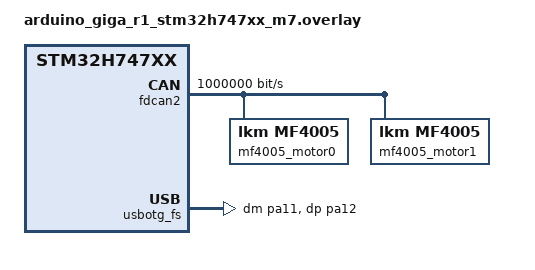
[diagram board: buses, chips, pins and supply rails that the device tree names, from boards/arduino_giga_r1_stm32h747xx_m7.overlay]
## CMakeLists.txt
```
# SPDX-License-Identifier: Apache-2.0

cmake_minimum_required(VERSION 3.20.0)

find_package(Zephyr REQUIRED HINTS $ENV{ZEPHYR_BASE})
project(mf4005_shell)

target_sources(app PRIVATE src/main.c)
```

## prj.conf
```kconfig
# Copyright (c) 2024 Felipe Neves
# SPDX-License-Identifier: Apache-2.0

CONFIG_CONSOLE=y
CONFIG_UART_CONSOLE=y
CONFIG_SERIAL=y
CONFIG_UART_LINE_CTRL=y

CONFIG_SHELL=y
CONFIG_PRINTK=y
CONFIG_LOG=y

CONFIG_CAN=y
CONFIG_LKMOTOR_MF4005_DRIVER=y
CONFIG_MF4005_DRIVER_SHELL=y
```

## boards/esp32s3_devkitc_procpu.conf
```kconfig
# Copyright (c) 2024 Vinicius Miguel
# SPDX-License-Identifier: Apache-2.0

CONFIG_USB_DEVICE_STACK=y
CONFIG_USB_DEVICE_INITIALIZE_AT_BOOT=y
CONFIG_USB_WORKQUEUE_STACK_SIZE=16384
CONFIG_MAIN_STACK_SIZE=8912
```

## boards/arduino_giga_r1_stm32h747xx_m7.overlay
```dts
/*
 * Copyright (c) 2024 Felipe Neves
 *
 * SPDX-License-Identifier: Apache-2.0
 */

/ {
	chosen {
		zephyr,console = &cdc_acm_uart0;
		zephyr,shell-uart = &cdc_acm_uart0;
		zephyr,cdc-acm-uart0 = &cdc_acm_uart0;
	};
};

&fdcan2 {
	bus-speed = <1000000>;
	status = "okay";

	#address-cells = <1>;
	#size-cells = <0>;	
	mf4005_motor0: mf4005_motor@141 {
		compatible = "lkm,mf4005";
		reg = <0x141>;
		max-current-ma = <240>;
		encoder-resolution-bits = <16>;
		max-speed-dps = <12000>;
		status = "okay";
	};

	mf4005_motor1: mf4005_motor@142 {
		compatible = "lkm,mf4005";
		reg = <0x142>;
		max-current-ma = <240>;
		encoder-resolution-bits = <16>;
		max-speed-dps = <12000>;
		status = "okay";
	};
};

zephyr_udc0: &usbotg_fs {
	pinctrl-0 = <&usb_otg_fs_dm_pa11 &usb_otg_fs_dp_pa12>;
	pinctrl-names = "default";
	status = "okay";

	cdc_acm_uart0: cdc_acm_uart0 {
		compatible = "zephyr,cdc-acm-uart";
	};
};

&cdc_acm_uart0 {
	status = "okay";
};
```

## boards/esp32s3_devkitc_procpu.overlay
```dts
/*
 * Copyright (c) 2024 Vinicius Miguel
 *
 * SPDX-License-Identifier: Apache-2.0
 */


&twai {
	bus-speed = <1000000>;
	status = "okay";

	#address-cells = <1>;
	#size-cells = <0>;	
	mf4005_motor0: mf4005_motor@141 {
		compatible = "lkm,mf4005";
		reg = <0x141>;
		max-current-ma = <240>;
		encoder-resolution-bits = <16>;
		max-speed-dps = <12000>;
		status = "okay";
	};

	mf4005_motor1: mf4005_motor@142 {
		compatible = "lkm,mf4005";
		reg = <0x142>;
		max-current-ma = <240>;
		encoder-resolution-bits = <16>;
		max-speed-dps = <12000>;
		status = "okay";
	};
};
```

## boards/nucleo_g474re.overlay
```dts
/*
 * Copyright (c) 2024 Felipe Neves
 *
 * SPDX-License-Identifier: Apache-2.0
 */
&fdcan1 {
	pinctrl-0 = <&fdcan1_rx_pa11 &fdcan1_tx_pa12>;
	pinctrl-names = "default";
	status = "okay";
	bus-speed = <1000000>;
	status = "okay";
};
```

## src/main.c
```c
/*
 * Copyright (c) 2024 Felipe Neves
 *
 * SPDX-License-Identifier: Apache-2.0
 */

#include <stdio.h>
#include <zephyr/kernel.h>

int main(void)
{
	printf("Running MF4005 Shell sample at %s\n", CONFIG_BOARD_TARGET);
	return 0;
}
```
